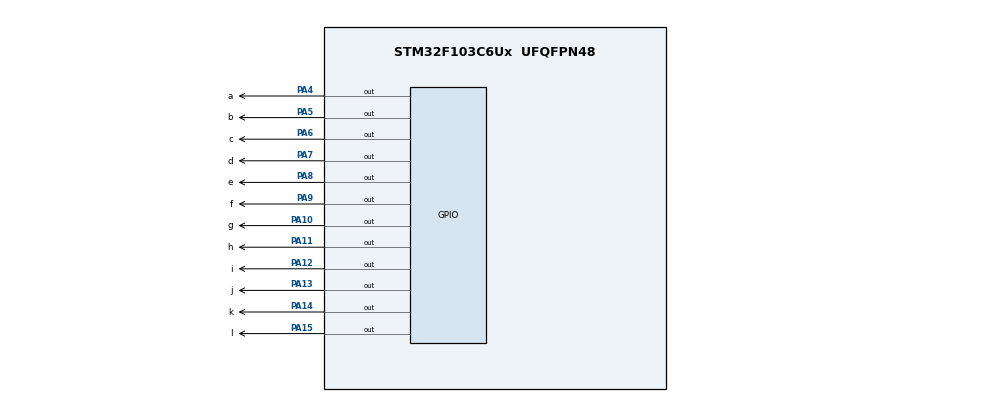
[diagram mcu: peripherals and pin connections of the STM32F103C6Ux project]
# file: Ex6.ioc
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Mcu.Family=STM32F1
Mcu.Name=STM32F103C6Ux
Mcu.Package=UFQFPN48
NVIC.PriorityGroup=NVIC_PRIORITYGROUP_4
PA10.GPIO_Label=g
PA10.Signal=GPIO_Output
PA11.GPIO_Label=h
PA11.Signal=GPIO_Output
PA12.GPIO_Label=i
PA12.Signal=GPIO_Output
PA13.GPIO_Label=j
PA13.Signal=GPIO_Output
PA14.GPIO_Label=k
PA14.Signal=GPIO_Output
PA15.GPIO_Label=l
PA15.Signal=GPIO_Output
PA4.GPIO_Label=a
PA4.Signal=GPIO_Output
PA5.GPIO_Label=b
PA5.Signal=GPIO_Output
PA6.GPIO_Label=c
PA6.Signal=GPIO_Output
PA7.GPIO_Label=d
PA7.Signal=GPIO_Output
PA8.GPIO_Label=e
PA8.Signal=GPIO_Output
PA9.GPIO_Label=f
PA9.Signal=GPIO_Output
ProjectManager.HeapSize=0x200
ProjectManager.StackSize=0x400
ProjectManager.TargetToolchain=STM32CubeIDE
RCC.APB1Freq_Value=8000000
RCC.APB2Freq_Value=8000000
VP_SYS_VS_ND.Mode=No_Debug
board=custom

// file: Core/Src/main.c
/* USER CODE BEGIN Header */
/**
  ******************************************************************************
  * @file           : main.c
  * @brief          : Main program body
  ******************************************************************************
  * @attention
  *
  * <h2><center>&copy; Copyright (c) 2022 STMicroelectronics.
  * All rights reserved.</center></h2>
  *
  * This software component is licensed by ST under BSD 3-Clause license,
  * the "License"; You may not use this file except in compliance with the
  * License. You may obtain a copy of the License at:
  *                        opensource.org/licenses/BSD-3-Clause
  *
  ******************************************************************************
  */
/* USER CODE END Header */
#include "main.h"

void SystemClock_Config(void);
static void MX_GPIO_Init(void);
/* USER CODE BEGIN PFP */
void clock(int h,int m,int s);
void clearAllClock();
void setNumberOnClock(int num);
/* USER CODE END PFP */

int main(void)
{

  /* MCU Configuration--------------------------------------------------------*/

  /* Reset of all peripherals, Initializes the Flash interface and the Systick. */
  HAL_Init();

  /* Configure the system clock */
  SystemClock_Config();

  /* Initialize all configured peripherals */
  MX_GPIO_Init();

  /* Infinite loop */
  /* USER CODE BEGIN WHILE */
  int n=0;
  while (1)
  {
    /* USER CODE END WHILE */
	  setNumberOnClock(n);
	  n++;
	  if(n>11) n=0;

	  	  	 HAL_Delay(100);
  }
}

void SystemClock_Config(void)
{
  RCC_OscInitTypeDef RCC_OscInitStruct = {0};
  RCC_ClkInitTypeDef RCC_ClkInitStruct = {0};

  /** Initializes the RCC Oscillators according to the specified parameters
  * in the RCC_OscInitTypeDef structure.
  */
  RCC_OscInitStruct.OscillatorType = RCC_OSCILLATORTYPE_HSI;
  RCC_OscInitStruct.HSIState = RCC_HSI_ON;
  RCC_OscInitStruct.HSICalibrationValue = RCC_HSICALIBRATION_DEFAULT;
  RCC_OscInitStruct.PLL.PLLState = RCC_PLL_NONE;
  if (HAL_RCC_OscConfig(&RCC_OscInitStruct) != HAL_OK)
  {
    Error_Handler();
  }
  /** Initializes the CPU, AHB and APB buses clocks
  */
  RCC_ClkInitStruct.ClockType = RCC_CLOCKTYPE_HCLK|RCC_CLOCKTYPE_SYSCLK
                              |RCC_CLOCKTYPE_PCLK1|RCC_CLOCKTYPE_PCLK2;
  RCC_ClkInitStruct.SYSCLKSource = RCC_SYSCLKSOURCE_HSI;
  RCC_ClkInitStruct.AHBCLKDivider = RCC_SYSCLK_DIV1;
  RCC_ClkInitStruct.APB1CLKDivider = RCC_HCLK_DIV1;
  RCC_ClkInitStruct.APB2CLKDivider = RCC_HCLK_DIV1;

  if (HAL_RCC_ClockConfig(&RCC_ClkInitStruct, FLASH_LATENCY_0) != HAL_OK)
  {
    Error_Handler();
  }
}

static void MX_GPIO_Init(void)
{
  GPIO_InitTypeDef GPIO_InitStruct = {0};

  /* GPIO Ports Clock Enable */
  __HAL_RCC_GPIOA_CLK_ENABLE();

  /*Configure GPIO pin Output Level */
  HAL_GPIO_WritePin(GPIOA, a_Pin|b_Pin|c_Pin|d_Pin
                          |e_Pin|f_Pin|g_Pin|h_Pin
                          |i_Pin|j_Pin|k_Pin|l_Pin, GPIO_PIN_RESET);

  /*Configure GPIO pins : a_Pin b_Pin c_Pin d_Pin
                           e_Pin f_Pin g_Pin h_Pin
                           i_Pin j_Pin k_Pin l_Pin */
  GPIO_InitStruct.Pin = a_Pin|b_Pin|c_Pin|d_Pin
                          |e_Pin|f_Pin|g_Pin|h_Pin
                          |i_Pin|j_Pin|k_Pin|l_Pin;
  GPIO_InitStruct.Mode = GPIO_MODE_OUTPUT_PP;
  GPIO_InitStruct.Pull = GPIO_NOPULL;
  GPIO_InitStruct.Speed = GPIO_SPEED_FREQ_LOW;
  HAL_GPIO_Init(GPIOA, &GPIO_InitStruct);

}

/* USER CODE BEGIN 4 */

void setNumberOnClock(int num)
{
	HAL_GPIO_WritePin(GPIOA, a_Pin|b_Pin|c_Pin|d_Pin|e_Pin|f_Pin|g_Pin|h_Pin|i_Pin|j_Pin|k_Pin|l_Pin, GPIO_PIN_SET);
	switch (num)
		{
		case 0:
			HAL_GPIO_WritePin(GPIOA, a_Pin, GPIO_PIN_RESET);
			break;
		case 1:
			HAL_GPIO_WritePin(GPIOA, b_Pin, GPIO_PIN_RESET);
			break;
		case 2:
			HAL_GPIO_WritePin(GPIOA, c_Pin, GPIO_PIN_RESET);
			break;
		case 3:
			HAL_GPIO_WritePin(GPIOA, d_Pin, GPIO_PIN_RESET);
			break;
		case 4:
			HAL_GPIO_WritePin(GPIOA, e_Pin, GPIO_PIN_RESET);
			break;
		case 5:
			HAL_GPIO_WritePin(GPIOA, f_Pin, GPIO_PIN_RESET);
				break;
		case 6:
			HAL_GPIO_WritePin(GPIOA, g_Pin, GPIO_PIN_RESET);
				break;
		case 7:
			HAL_GPIO_WritePin(GPIOA, h_Pin, GPIO_PIN_RESET);
				break;
		case 8:
			HAL_GPIO_WritePin(GPIOA, i_Pin, GPIO_PIN_RESET);
				break;
			case 9:
				HAL_GPIO_WritePin(GPIOA, j_Pin, GPIO_PIN_RESET);
				break;
			case 10:
				HAL_GPIO_WritePin(GPIOA, k_Pin, GPIO_PIN_RESET);
				break;
			case 11:
				HAL_GPIO_WritePin(GPIOA, l_Pin, GPIO_PIN_RESET);
				break;
			default: break;
		}

}

/* USER CODE END 4 */

void Error_Handler(void)
{
  __disable_irq();
  while (1)
  {
  }
}

/************************ (C) COPYRIGHT STMicroelectronics *****END OF FILE****/
